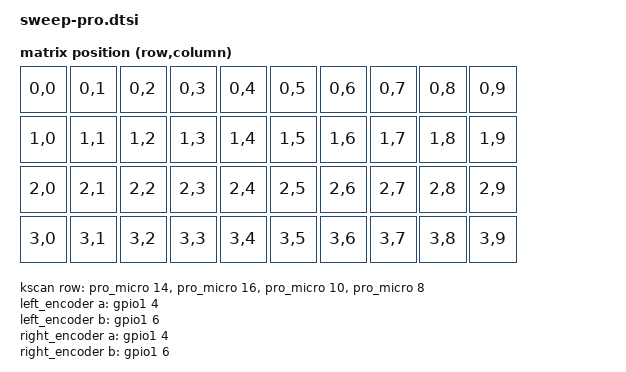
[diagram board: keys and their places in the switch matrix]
/*
 * Copyright (c) 2020 The ZMK Contributors
 *
 * SPDX-License-Identifier: MIT
 */

#include <dt-bindings/zmk/matrix_transform.h>

/ {

	chosen: chosen {
		zmk,battery = &vbatt;
		zmk,kscan = &kscan;
		zmk,matrix_transform = &default_transform;
    zephyr,display = &shield_epd;
	};

	default_transform: keymap_transform_0 {
		compatible = "zmk,matrix-transform";
		columns = <10>;
		rows = <4>;
// | SW1  | SW2  | SW3  | SW4  | SW5  |  | SW5  | SW4  | SW3  | SW2  | SW1  |
// | SW6  | SW7  | SW8  | SW9  | SW10 |  | SW10 | SW9  | SW8  | SW7  | SW6  |
// | SW11 | SW12 | SW13 | SW14 | SW15 |  | SW15 | SW14 | SW13 | SW12 | SW11 |
//               | SW16 | SW17 | SW18 |  | SW18 | SW17 | SW16 |
		map = <
RC(0,0) RC(0,1) RC(0,2) RC(0,3) RC(0,4)  RC(0,5) RC(0,6) RC(0,7) RC(0,8) RC(0,9)
RC(1,0) RC(1,1) RC(1,2) RC(1,3) RC(1,4)  RC(1,5) RC(1,6) RC(1,7) RC(1,8) RC(1,9)
RC(2,0) RC(2,1) RC(2,2) RC(2,3) RC(2,4)  RC(2,5) RC(2,6) RC(2,7) RC(2,8) RC(2,9)
RC(3,0) RC(3,1) RC(3,2) RC(3,3) RC(3,4)  RC(3,5) RC(3,6) RC(3,7) RC(3,8) RC(3,9)
		>;
	};

  // scan matrix
	kscan: kscan {
		compatible = "zmk,kscan-gpio-matrix";
		label = "KSCAN";

		diode-direction = "col2row";
		row-gpios
			= <&pro_micro 14 (GPIO_ACTIVE_HIGH | GPIO_PULL_DOWN)>
			, <&pro_micro 16 (GPIO_ACTIVE_HIGH | GPIO_PULL_DOWN)>
			, <&pro_micro 10 (GPIO_ACTIVE_HIGH | GPIO_PULL_DOWN)>
			, <&pro_micro 8  (GPIO_ACTIVE_HIGH | GPIO_PULL_DOWN)>
			;
	};

  /* encoders */
	left_encoder: encoder_left {
		compatible = "alps,ec11";
    status = "disabled";
		label = "LEFT_ENCODER";
		a-gpios = <&gpio1 4 (GPIO_ACTIVE_LOW | GPIO_PULL_UP)>;
		b-gpios = <&gpio1 6 (GPIO_ACTIVE_LOW | GPIO_PULL_UP)>;
		resolution = <2>;
	};

	right_encoder: encoder_right {
		compatible = "alps,ec11";
    status = "disabled";
		label = "RIGHT_ENCODER";
		a-gpios = <&gpio1 4 (GPIO_ACTIVE_LOW | GPIO_PULL_UP)>;
		b-gpios = <&gpio1 6 (GPIO_ACTIVE_LOW | GPIO_PULL_UP)>;
		resolution = <2>;
	};

	sensors {
		compatible = "zmk,keymap-sensors";
		sensors = <&left_encoder &right_encoder>;
	};
};

/* display */
&pro_micro_spi {
// &spi2 {
  compatible = "nordic,nrf-spim";
  sck-pin = <20>;
  mosi-pin = <17>;
  cs-gpios = <&gpio0 24 GPIO_ACTIVE_LOW>;
  // not used, but required by spim binding; can be reuesd in the keymap for normal key press
  miso-pin = <22>;

  // activate this device
  status = "okay";

  // spi-device: gooddisplay GDEW0102T4
  shield_epd: il0323@0 {
    compatible = "gooddisplay,il0323";
    reg = <0>;
    label = "DISPLAY";
    spi-max-frequency = <4000000>;

    height = <128>;
    width = <80>;
    reset-gpios = <&gpio0 15  GPIO_ACTIVE_LOW>;
    dc-gpios    = <&gpio0 13  GPIO_ACTIVE_LOW>;
    busy-gpios  = <&gpio0  9  GPIO_ACTIVE_LOW>;
    pwr = [03 00 26 26];
    cdi = <0xd2>;
    tcon = <0x22>;
  }; 
};
